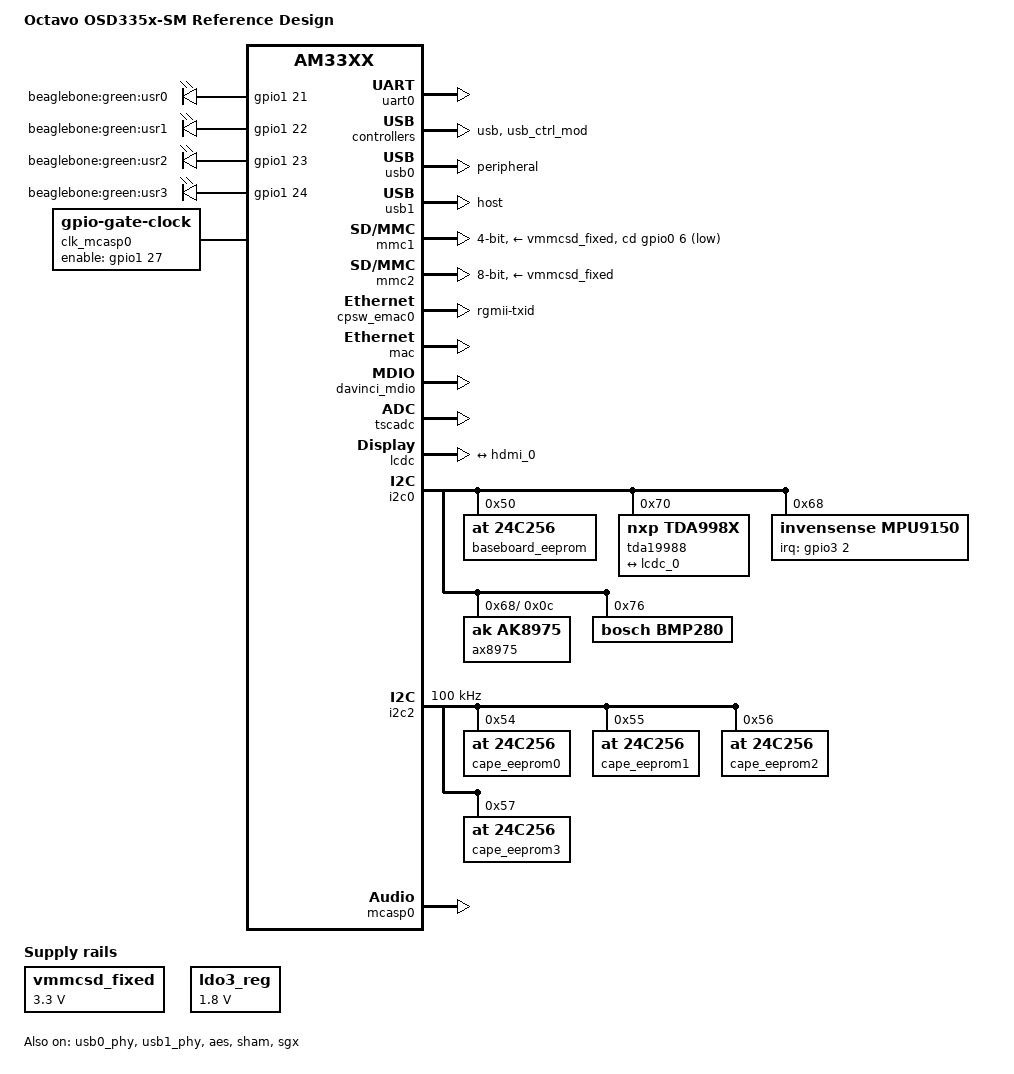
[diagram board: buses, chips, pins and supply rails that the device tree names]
/*
 * Copyright (C) 2017-18 Octavo Systems (octavosystems.com)
 *
 * This program is free software; you can redistribute it and/or modify
 * it under the terms of the GNU General Public License version 2 as
 * published by the Free Software Foundation.
 */

 /dts-v1/;

 #include "osd335x-sm.dtsi"

 #include <dt-bindings/display/tda998x.h>

 / {

 	leds {
 		pinctrl-names = "default", "sleep";
 		pinctrl-0 = <&user_leds_default>;
 		pinctrl-1 = <&user_leds_sleep>;

 		compatible = "gpio-leds";

 		led@2 {
 			label = "beaglebone:green:usr0";
 			gpios = <&gpio1 21 GPIO_ACTIVE_HIGH>;
 			linux,default-trigger = "heartbeat";
 			default-state = "off";
 		};

 		led@3 {
 			label = "beaglebone:green:usr1";
 			gpios = <&gpio1 22 GPIO_ACTIVE_HIGH>;
 			linux,default-trigger = "mmc0";
 			default-state = "off";
 		};

 		led@4 {
 			label = "beaglebone:green:usr2";
 			gpios = <&gpio1 23 GPIO_ACTIVE_HIGH>;
 			linux,default-trigger = "cpu0";
 			default-state = "off";
 		};

 		led@5 {
 			label = "beaglebone:green:usr3";
 			gpios = <&gpio1 24 GPIO_ACTIVE_HIGH>;
 			linux,default-trigger = "mmc1";
 			default-state = "off";
 		};
 	};

 	vmmcsd_fixed: fixedregulator@0 {
 		compatible = "regulator-fixed";
 		regulator-name = "vmmcsd_fixed";
 		regulator-min-microvolt = <3300000>;
 		regulator-max-microvolt = <3300000>;
 	};
 };

 &uart0 {
 	pinctrl-names = "default";
 	pinctrl-0 = <&uart0_pins>;

 	status = "okay";
 };

 &usb {
 	status = "okay";
 };

 &usb_ctrl_mod {
 	status = "okay";
 };

 &usb0_phy {
 	status = "okay";
 };

 &usb1_phy {
 	status = "okay";
 };

 &usb0 {
 	status = "okay";
 	dr_mode = "peripheral";
 };

 &usb1 {
 	status = "okay";
 	dr_mode = "host";
 };

 &cppi41dma  {
 	status = "okay";
 };

&ldo3_reg {
	regulator-min-microvolt = <1800000>;
	regulator-max-microvolt = <1800000>;
	regulator-always-on;
};

&mmc1 {
  status = "okay";
  bus-width = <0x4>;
  pinctrl-names = "default";
  pinctrl-0 = <&mmc1_pins>;
  cd-gpios = <&gpio0 6 GPIO_ACTIVE_LOW>;

	vmmc-supply = <&vmmcsd_fixed>;
};

&mmc2 {
	vmmc-supply = <&vmmcsd_fixed>;
	pinctrl-names = "default";
	pinctrl-0 = <&emmc_pins>;
	bus-width = <8>;
	status = "okay";
};

&cpu0_opp_table {
	/*
	 * All PG 2.0 silicon may not support 1GHz but some of the early
	 * BeagleBone Blacks have PG 2.0 silicon which is guaranteed
	 * to support 1GHz OPP so enable it for PG 2.0 on this board.
	 */
	oppnitro@1000000000 {
		opp-supported-hw = <0x06 0x0100>;
	};
};

&cpsw_emac0 {
	phy_id = <&davinci_mdio>, <4>;
	phy-mode = "rgmii-txid";
};

&mac {
	pinctrl-names = "default", "sleep";
	pinctrl-0 = <&cpsw_default>;
	pinctrl-1 = <&cpsw_sleep>;
	slaves = <1>;
	status = "okay";
};

&davinci_mdio {
	pinctrl-names = "default", "sleep";
	pinctrl-0 = <&davinci_mdio_default>;
	pinctrl-1 = <&davinci_mdio_sleep>;
	status = "okay";
};

&tscadc {
	status = "okay";
};

&am335x_adc {
	ti,adc-channels = <0 1 2 3 4 5 6 7>;
};

&aes {
	status = "okay";
};

&sham {
	status = "okay";
};

&wkup_m3_ipc {
	ti,scale-data-fw = "am335x-bone-scale-data.bin";
};

&rtc {
	clocks = <&clk_32768_ck>, <&clkdiv32k_ick>;
	clock-names = "ext-clk", "int-clk";
	system-power-controller;
};

&sgx {
	status = "okay";
};

&am33xx_pinmux {

user_leds_default: user_leds_default {
  pinctrl-single,pins = <
    AM33XX_IOPAD(0x854, PIN_OUTPUT_PULLDOWN | MUX_MODE7)	/* gpmc_a5.gpio1_21 */
    AM33XX_IOPAD(0x858, PIN_OUTPUT_PULLUP | MUX_MODE7)		/* gpmc_a6.gpio1_22 */
    AM33XX_IOPAD(0x85c, PIN_OUTPUT_PULLDOWN | MUX_MODE7)	/* gpmc_a7.gpio1_23 */
    AM33XX_IOPAD(0x860, PIN_OUTPUT_PULLUP | MUX_MODE7)		/* gpmc_a8.gpio1_24 */
  >;
};

user_leds_sleep: user_leds_sleep {
  pinctrl-single,pins = <
    AM33XX_IOPAD(0x854, PIN_INPUT_PULLDOWN | MUX_MODE7)		/* gpmc_a5.gpio1_21 */
    AM33XX_IOPAD(0x858, PIN_INPUT_PULLDOWN | MUX_MODE7)		/* gpmc_a6.gpio1_22 */
    AM33XX_IOPAD(0x85c, PIN_INPUT_PULLDOWN | MUX_MODE7)		/* gpmc_a7.gpio1_23 */
    AM33XX_IOPAD(0x860, PIN_INPUT_PULLDOWN | MUX_MODE7)		/* gpmc_a8.gpio1_24 */
  >;
};

i2c0_pins: pinmux_i2c0_pins {
  pinctrl-single,pins = <
    AM33XX_IOPAD(0x988, PIN_INPUT_PULLUP | MUX_MODE0)	/* i2c0_sda.i2c0_sda */
    AM33XX_IOPAD(0x98c, PIN_INPUT_PULLUP | MUX_MODE0)	/* i2c0_scl.i2c0_scl */
  >;
};

i2c2_pins: pinmux_i2c2_pins {
  pinctrl-single,pins = <
    AM33XX_IOPAD(0x978, PIN_INPUT_PULLUP | MUX_MODE3)	/* uart1_ctsn.i2c2_sda */
    AM33XX_IOPAD(0x97c, PIN_INPUT_PULLUP | MUX_MODE3)	/* uart1_rtsn.i2c2_scl */
  >;
};

uart0_pins: pinmux_uart0_pins {
  pinctrl-single,pins = <
    AM33XX_IOPAD(0x970, PIN_INPUT_PULLUP | MUX_MODE0)	/* uart0_rxd.uart0_rxd */
    AM33XX_IOPAD(0x974, PIN_OUTPUT_PULLDOWN | MUX_MODE0)	/* uart0_txd.uart0_txd */
  >;
};

cpsw_default: cpsw_default {
  pinctrl-single,pins = <
    /* Slave 1 */
    AM33XX_IOPAD(0x914, PIN_OUTPUT_PULLDOWN | MUX_MODE2)	/* mii1_txen.rgmii1_tctl */
    AM33XX_IOPAD(0x918, PIN_INPUT_PULLDOWN | MUX_MODE2)		/* mii1_rxdv.rgmii1_rctl */
    AM33XX_IOPAD(0x91c, PIN_OUTPUT_PULLDOWN | MUX_MODE2)	/* mii1_txd3.rgmii1_txd3 */
    AM33XX_IOPAD(0x920, PIN_OUTPUT_PULLDOWN | MUX_MODE2)	/* mii1_txd2.rgmii1_txd2 */
    AM33XX_IOPAD(0x924, PIN_OUTPUT_PULLDOWN | MUX_MODE2)	/* mii1_txd1.rgmii1_txd1 */
    AM33XX_IOPAD(0x928, PIN_OUTPUT_PULLDOWN | MUX_MODE2)	/* mii1_txd0.rgmii1_txd0 */
    AM33XX_IOPAD(0x92c, PIN_OUTPUT_PULLDOWN | MUX_MODE2)	/* mii1_txclk.rgmii1_txclk */
    AM33XX_IOPAD(0x930, PIN_INPUT_PULLDOWN | MUX_MODE2)		/* mii1_rxclk.rgmii1_rxclk */
    AM33XX_IOPAD(0x934, PIN_INPUT_PULLDOWN | MUX_MODE2)		/* mii1_rxd3.rgmii1_rxd3 */
    AM33XX_IOPAD(0x938, PIN_INPUT_PULLDOWN | MUX_MODE2)		/* mii1_rxd2.rgmii1_rxd2 */
    AM33XX_IOPAD(0x93c, PIN_INPUT_PULLDOWN | MUX_MODE2)		/* mii1_rxd1.rgmii1_rxd1 */
    AM33XX_IOPAD(0x940, PIN_INPUT_PULLDOWN | MUX_MODE2)		/* mii1_rxd0.rgmii1_rxd0 */
  >;
};

cpsw_sleep: cpsw_sleep {
  pinctrl-single,pins = <
    /* Slave 1 reset value */
    AM33XX_IOPAD(0x914, PIN_INPUT_PULLDOWN | MUX_MODE7)
    AM33XX_IOPAD(0x918, PIN_INPUT_PULLDOWN | MUX_MODE7)
    AM33XX_IOPAD(0x91c, PIN_INPUT_PULLDOWN | MUX_MODE7)
    AM33XX_IOPAD(0x920, PIN_INPUT_PULLDOWN | MUX_MODE7)
    AM33XX_IOPAD(0x924, PIN_INPUT_PULLDOWN | MUX_MODE7)
    AM33XX_IOPAD(0x928, PIN_INPUT_PULLDOWN | MUX_MODE7)
    AM33XX_IOPAD(0x92c, PIN_INPUT_PULLDOWN | MUX_MODE7)
    AM33XX_IOPAD(0x930, PIN_INPUT_PULLDOWN | MUX_MODE7)
    AM33XX_IOPAD(0x934, PIN_INPUT_PULLDOWN | MUX_MODE7)
    AM33XX_IOPAD(0x938, PIN_INPUT_PULLDOWN | MUX_MODE7)
    AM33XX_IOPAD(0x93c, PIN_INPUT_PULLDOWN | MUX_MODE7)
    AM33XX_IOPAD(0x940, PIN_INPUT_PULLDOWN | MUX_MODE7)
  >;
};

davinci_mdio_default: davinci_mdio_default {
  pinctrl-single,pins = <
    /* MDIO */
    AM33XX_IOPAD(0x948, PIN_INPUT_PULLUP | SLEWCTRL_FAST | MUX_MODE0)	/* mdio_data.mdio_data */
    AM33XX_IOPAD(0x94c, PIN_OUTPUT_PULLUP | MUX_MODE0)			/* mdio_clk.mdio_clk */
  >;
};

davinci_mdio_sleep: davinci_mdio_sleep {
  pinctrl-single,pins = <
    /* MDIO reset value */
    AM33XX_IOPAD(0x948, PIN_INPUT_PULLDOWN | MUX_MODE7)
    AM33XX_IOPAD(0x94c, PIN_INPUT_PULLDOWN | MUX_MODE7)
  >;
};

mmc1_pins: pinmux_mmc1_pins {
  pinctrl-single,pins = <
    AM33XX_IOPAD(0x960, PIN_INPUT | MUX_MODE7) /* GPIO0_6 */
  >;
};

emmc_pins: pinmux_emmc_pins {
  pinctrl-single,pins = <
    AM33XX_IOPAD(0x880, PIN_INPUT_PULLUP | MUX_MODE2) /* gpmc_csn1.mmc1_clk */
    AM33XX_IOPAD(0x884, PIN_INPUT_PULLUP | MUX_MODE2) /* gpmc_csn2.mmc1_cmd */
    AM33XX_IOPAD(0x800, PIN_INPUT_PULLUP | MUX_MODE1) /* gpmc_ad0.mmc1_dat0 */
    AM33XX_IOPAD(0x804, PIN_INPUT_PULLUP | MUX_MODE1) /* gpmc_ad1.mmc1_dat1 */
    AM33XX_IOPAD(0x808, PIN_INPUT_PULLUP | MUX_MODE1) /* gpmc_ad2.mmc1_dat2 */
    AM33XX_IOPAD(0x80c, PIN_INPUT_PULLUP | MUX_MODE1) /* gpmc_ad3.mmc1_dat3 */
    AM33XX_IOPAD(0x810, PIN_INPUT_PULLUP | MUX_MODE1) /* gpmc_ad4.mmc1_dat4 */
    AM33XX_IOPAD(0x814, PIN_INPUT_PULLUP | MUX_MODE1) /* gpmc_ad5.mmc1_dat5 */
    AM33XX_IOPAD(0x818, PIN_INPUT_PULLUP | MUX_MODE1) /* gpmc_ad6.mmc1_dat6 */
    AM33XX_IOPAD(0x81c, PIN_INPUT_PULLUP | MUX_MODE1) /* gpmc_ad7.mmc1_dat7 */
  >;
};


	nxp_hdmi_bonelt_pins: nxp_hdmi_bonelt_pins {
		pinctrl-single,pins = <
			AM33XX_IOPAD(0x9b0, PIN_OUTPUT_PULLDOWN | MUX_MODE3)	/* xdma_event_intr0 */
			AM33XX_IOPAD(0x8a0, PIN_OUTPUT | MUX_MODE0)		/* lcd_data0.lcd_data0 */
			AM33XX_IOPAD(0x8a4, PIN_OUTPUT | MUX_MODE0)		/* lcd_data1.lcd_data1 */
			AM33XX_IOPAD(0x8a8, PIN_OUTPUT | MUX_MODE0)		/* lcd_data2.lcd_data2 */
			AM33XX_IOPAD(0x8ac, PIN_OUTPUT | MUX_MODE0)		/* lcd_data3.lcd_data3 */
			AM33XX_IOPAD(0x8b0, PIN_OUTPUT | MUX_MODE0)		/* lcd_data4.lcd_data4 */
			AM33XX_IOPAD(0x8b4, PIN_OUTPUT | MUX_MODE0)		/* lcd_data5.lcd_data5 */
			AM33XX_IOPAD(0x8b8, PIN_OUTPUT | MUX_MODE0)		/* lcd_data6.lcd_data6 */
			AM33XX_IOPAD(0x8bc, PIN_OUTPUT | MUX_MODE0)		/* lcd_data7.lcd_data7 */
			AM33XX_IOPAD(0x8c0, PIN_OUTPUT | MUX_MODE0)		/* lcd_data8.lcd_data8 */
			AM33XX_IOPAD(0x8c4, PIN_OUTPUT | MUX_MODE0)		/* lcd_data9.lcd_data9 */
			AM33XX_IOPAD(0x8c8, PIN_OUTPUT | MUX_MODE0)		/* lcd_data10.lcd_data10 */
			AM33XX_IOPAD(0x8cc, PIN_OUTPUT | MUX_MODE0)		/* lcd_data11.lcd_data11 */
			AM33XX_IOPAD(0x8d0, PIN_OUTPUT | MUX_MODE0)		/* lcd_data12.lcd_data12 */
			AM33XX_IOPAD(0x8d4, PIN_OUTPUT | MUX_MODE0)		/* lcd_data13.lcd_data13 */
			AM33XX_IOPAD(0x8d8, PIN_OUTPUT | MUX_MODE0)		/* lcd_data14.lcd_data14 */
			AM33XX_IOPAD(0x8dc, PIN_OUTPUT | MUX_MODE0)		/* lcd_data15.lcd_data15 */
			AM33XX_IOPAD(0x8e0, PIN_OUTPUT_PULLDOWN | MUX_MODE0)	/* lcd_vsync.lcd_vsync */
			AM33XX_IOPAD(0x8e4, PIN_OUTPUT_PULLDOWN | MUX_MODE0)	/* lcd_hsync.lcd_hsync */
			AM33XX_IOPAD(0x8e8, PIN_OUTPUT_PULLDOWN | MUX_MODE0)	/* lcd_pclk.lcd_pclk */
			AM33XX_IOPAD(0x8ec, PIN_OUTPUT_PULLDOWN | MUX_MODE0)	/* lcd_ac_bias_en.lcd_ac_bias_en */
		>;
	};
	nxp_hdmi_bonelt_off_pins: nxp_hdmi_bonelt_off_pins {
		pinctrl-single,pins = <
			AM33XX_IOPAD(0x9b0, PIN_OUTPUT_PULLDOWN | MUX_MODE3)	/* xdma_event_intr0 */
		>;
	};

	mcasp0_pins: mcasp0_pins {
		pinctrl-single,pins = <
			AM33XX_IOPAD(0x9ac, PIN_INPUT_PULLUP | MUX_MODE0) /* mcasp0_ahcklx.mcasp0_ahclkx */
			AM33XX_IOPAD(0x99c, PIN_OUTPUT_PULLDOWN | MUX_MODE2) /* mcasp0_ahclkr.mcasp0_axr2*/
			AM33XX_IOPAD(0x994, PIN_OUTPUT_PULLUP | MUX_MODE0) /* mcasp0_fsx.mcasp0_fsx */
			AM33XX_IOPAD(0x990, PIN_OUTPUT_PULLDOWN | MUX_MODE0) /* mcasp0_aclkx.mcasp0_aclkx */
			AM33XX_IOPAD(0x86c, PIN_OUTPUT_PULLDOWN | MUX_MODE7) /* gpmc_a11.GPIO1_27 */
		>;
	};

	flash_enable: flash_enable {
		pinctrl-single,pins = <
			AM33XX_IOPAD(0x944, PIN_OUTPUT_PULLDOWN | MUX_MODE7) 	/* rmii1_ref_clk.gpio0_29 */
		>;
	};

	imu_interrupt: imu_interrupt {
		pinctrl-single,pins = <
			AM33XX_IOPAD(0x910, PIN_INPUT | MUX_MODE7) 		/* mii1_rx_er.gpio3_2 */
		>;
	};

	ethernet_interrupt: ethernet_interrupt{
		pinctrl-single,pins = <
			AM33XX_IOPAD(0x908, PIN_INPUT_PULLDOWN | MUX_MODE7) 		/* mii1_col.gpio3_0 */
		>;
	};
};

&lcdc {
	status = "okay";

	/* If you want to get 24 bit RGB and 16 BGR mode instead of
	 * current 16 bit RGB and 24 BGR modes, set the propety
	 * below to "crossed" and uncomment the video-ports -property
	 * in tda19988 node.
	 */
	blue-and-red-wiring = "straight";

	port {
		lcdc_0: endpoint@0 {
			remote-endpoint = <&hdmi_0>;
		};
	};
};

&i2c0 {

  baseboard_eeprom: baseboard_eeprom@50 {
    compatible = "at,24c256";
    reg = <0x50>;

    #address-cells = <1>;
    #size-cells = <1>;
    baseboard_data: baseboard_data@0 {
      reg = <0 0x100>;
    };
  };


	tda19988: tda19988 {
		compatible = "nxp,tda998x";
		reg = <0x70>;

		pinctrl-names = "default", "off";
		pinctrl-0 = <&nxp_hdmi_bonelt_pins>;
		pinctrl-1 = <&nxp_hdmi_bonelt_off_pins>;

		/* Convert 24bit BGR to RGB, e.g. cross red and blue wiring */
		/* video-ports = <0x234501>; */

		#sound-dai-cells = <0>;
		audio-ports = <	TDA998x_I2S	0x03>;

		ports {
			port@0 {
				hdmi_0: endpoint@0 {
					remote-endpoint = <&lcdc_0>;
				};
			};
		};
	};

  mpu9150: mpu9150@68 {
		compatible = "invensense,mpu9150";
		reg = <0x68>;
		interrupt-parent = <&gpio3>;
		interrupts = <2 1>;
		i2c-gate {
			#address-cells = <1>;
			#size-cells = <0>;
			ax8975@c {
				compatible = "ak,ak8975";
				reg = <0x0c>;
			};
		};
		/*invensense,int_config = <0x10>;
		invensense,level_shifter = <0>;
		invensense,orientation = [01 00 00 00 01 00 00 00 01];
		invensense,sec_slave_type = <0>;
		invensense,key = [4e cc 7e eb f6 1e 35 22 00 34 0d 65 32 e9 94 89];*/
	};

    bmp280@78 {
    	compatible = "bosch,bmp280";
    	reg = <0x76>;
    };
};

&ocp {
	imu_int_en: imu_int_en {
		/*compatible = "bone-pinmux-helper";*/
		compatible = "ti,omap4-gpio";
		pinctrl-names = "default";
		pinctrl-0 = <&imu_interrupt>;
	};
};

&i2c2 {
	pinctrl-names = "default";
	pinctrl-0 = <&i2c2_pins>;

	status = "okay";
	clock-frequency = <100000>;

	cape_eeprom0: cape_eeprom0@54 {
		compatible = "at,24c256";
		reg = <0x54>;
		#address-cells = <1>;
		#size-cells = <1>;
		cape0_data: cape_data@0 {
			reg = <0 0x100>;
		};
	};

	cape_eeprom1: cape_eeprom1@55 {
		compatible = "at,24c256";
		reg = <0x55>;
		#address-cells = <1>;
		#size-cells = <1>;
		cape1_data: cape_data@0 {
			reg = <0 0x100>;
		};
	};

	cape_eeprom2: cape_eeprom2@56 {
		compatible = "at,24c256";
		reg = <0x56>;
		#address-cells = <1>;
		#size-cells = <1>;
		cape2_data: cape_data@0 {
			reg = <0 0x100>;
		};
	};

	cape_eeprom3: cape_eeprom3@57 {
		compatible = "at,24c256";
		reg = <0x57>;
		#address-cells = <1>;
		#size-cells = <1>;
		cape3_data: cape_data@0 {
			reg = <0 0x100>;
		};
	};
};


&mcasp0	{
	#sound-dai-cells = <0>;
	pinctrl-names = "default";
	pinctrl-0 = <&mcasp0_pins>;
	status = "okay";
	op-mode = <0>;	/* MCASP_IIS_MODE */
	tdm-slots = <2>;
	serial-dir = <	/* 0: INACTIVE, 1: TX, 2: RX */
			0 0 1 0
		>;
	tx-num-evt = <32>;
	rx-num-evt = <32>;
};

/ {

	model = "Octavo OSD335x-SM Reference Design";
	compatible = "oct,osd335x-reference-design", "ti,am335x-bone", "ti,am33xx";

	clk_mcasp0_fixed: clk_mcasp0_fixed {
		#clock-cells = <0>;
		compatible = "fixed-clock";
		clock-frequency = <24576000>;
	};

	clk_mcasp0: clk_mcasp0 {
		#clock-cells = <0>;
		compatible = "gpio-gate-clock";
		clocks = <&clk_mcasp0_fixed>;
		enable-gpios = <&gpio1 27 0>; /* BeagleBone Black Clk enable on GPIO1_27 */
	};

	sound {
		compatible = "simple-audio-card";
		simple-audio-card,name = "TI BeagleBone Black";
		simple-audio-card,format = "i2s";
		simple-audio-card,bitclock-master = <&dailink0_master>;
		simple-audio-card,frame-master = <&dailink0_master>;

		dailink0_master: simple-audio-card,cpu {
			sound-dai = <&mcasp0>;
			clocks = <&clk_mcasp0>;
		};

		simple-audio-card,codec {
			sound-dai = <&tda19988>;
		};
	};
};

/* the cape manager */
/ {
	bone_capemgr {
		compatible = "ti,bone-capemgr";
		status = "okay";

		nvmem-cells = <&baseboard_data &cape0_data &cape1_data &cape2_data &cape3_data>;
		nvmem-cell-names = "baseboard", "slot0", "slot1", "slot2", "slot3";
		#slots = <4>;

		/* map board revisions to compatible definitions */
		baseboardmaps {
			baseboard_beaglebone: board@0 {
				board-name = "A335BONE";
				compatible-name = "ti,beaglebone";
			};

			baseboard_beaglebone_black: board@1 {
				board-name = "A335BNLT";
				compatible-name = "ti,beaglebone-black";
			};
		};
	};
};
